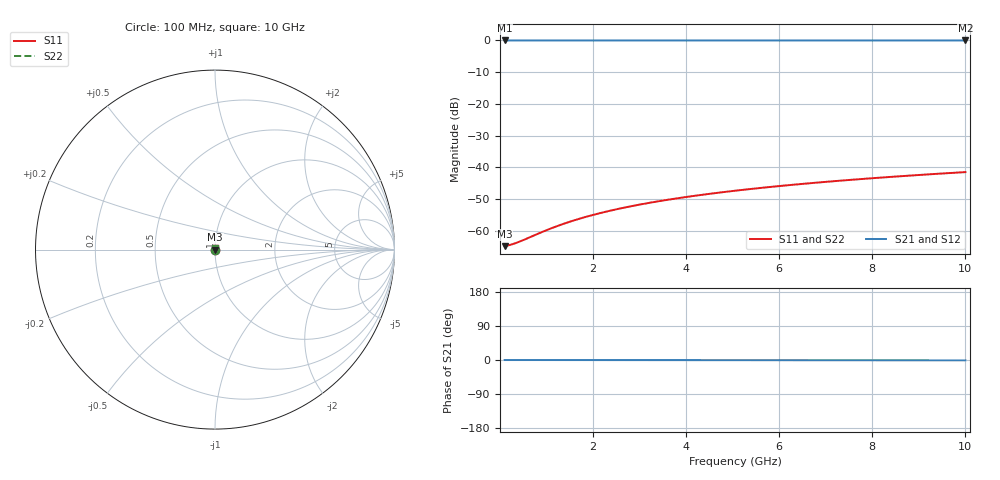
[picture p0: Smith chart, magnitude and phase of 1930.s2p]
# Hz S RI R 50.00
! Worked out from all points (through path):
!   100 points, 100 MHz to 10 GHz, reference 50 ohm
!   highest |S21| = 0.00 dB at 100 MHz (marker M1); lowest = 0.0 dB at 10 GHz (marker M2)
!   lowest |S11| = -64.9 dB at 100 MHz (marker M3), VSWR 1.00, Z = 50.1 + j0.00837 ohm
!   |S11| at or under -10 dB: start of sweep to end of sweep
!   |S22| runs from -64.9 to -41.5 dB; largest |S21 - S12| = 0
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1e8  0.000565 8.36e-05  0.9994 -0.000154  0.9994 -0.000154  0.000565 8.36e-05
2e8  0.000568 0.000167  0.9994 -0.000308  0.9994 -0.000308  0.000568 0.000167
3e8  0.000571 0.000251  0.9994 -0.000462  0.9994 -0.000462  0.000571 0.000251
4e8  0.000574 0.000334  0.9994 -0.000616  0.9994 -0.000616  0.000574 0.000334
1e9  0.000583 0.000836  0.9994 -0.00154  0.9994 -0.00154  0.000583 0.000836
1.3e9  0.000587 0.00109  0.9994 -0.002  0.9994 -0.002  0.000587 0.00109
1.5e9  0.00059 0.00125  0.9994 -0.00231  0.9994 -0.00231  0.00059 0.00125
1.8e9  0.000593 0.0015  0.9994 -0.00277  0.9994 -0.00277  0.000593 0.0015
2.1e9  0.000597 0.00176  0.9994 -0.00323  0.9994 -0.00323  0.000597 0.00176
2.5e9  0.000602 0.00209  0.9994 -0.00385  0.9994 -0.00385  0.000602 0.00209
2.9e9  0.000607 0.00242  0.9994 -0.00446  0.9994 -0.00446  0.000607 0.00242
3.4e9  0.000614 0.00284  0.9994 -0.00523  0.9994 -0.00523  0.000614 0.00284
3.8e9  0.00062 0.00318  0.9994 -0.00585  0.9994 -0.00585  0.00062 0.00318
4.2e9  0.000626 0.00351  0.9994 -0.00647  0.9994 -0.00647  0.000626 0.00351
4.6e9  0.000632 0.00385  0.9994 -0.00708  0.9994 -0.00708  0.000632 0.00385
5.1e9  0.000641 0.00426  0.9993 -0.00785  0.9993 -0.00785  0.000641 0.00426
5.9e9  0.000656 0.00493  0.9993 -0.00908  0.9993 -0.00908  0.000656 0.00493
6.7e9  0.000672 0.0056  0.9993 -0.0103  0.9993 -0.0103  0.000672 0.0056
7.5e9  0.00069 0.00627  0.9993 -0.0116  0.9993 -0.0116  0.00069 0.00627
8.4e9  0.000713 0.00702  0.9993 -0.0129  0.9993 -0.0129  0.000713 0.00702
9.2e9  0.000734 0.00769  0.9992 -0.0142  0.9992 -0.0142  0.000734 0.00769
1e10  0.000757 0.00836  0.9992 -0.0154  0.9992 -0.0154  0.000757 0.00836
